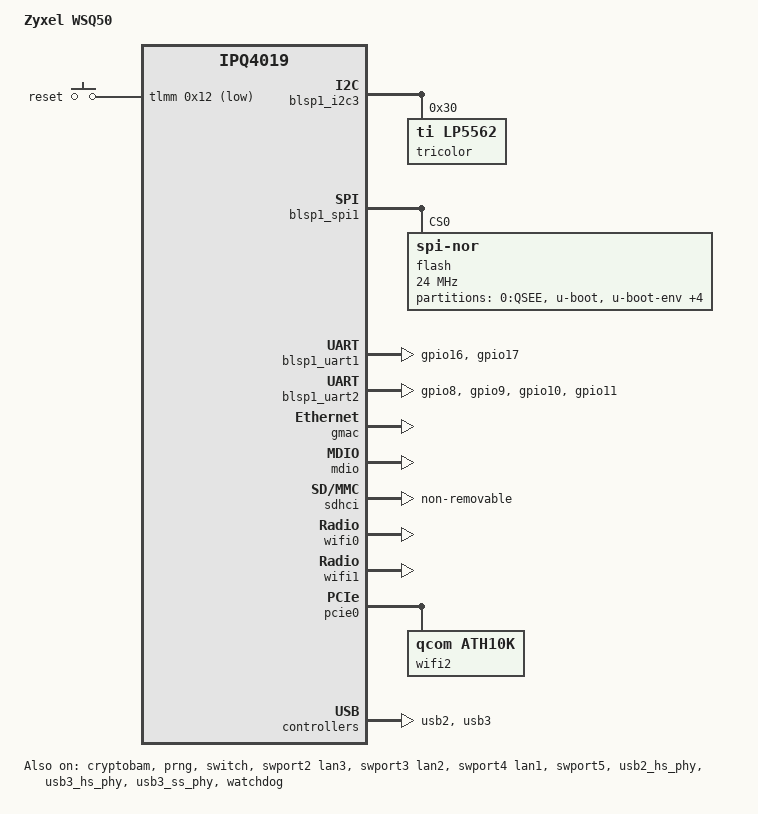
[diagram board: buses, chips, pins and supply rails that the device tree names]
// SPDX-License-Identifier: GPL-2.0-or-later OR MIT

#include "qcom-ipq4019.dtsi"
#include <dt-bindings/gpio/gpio.h>
#include <dt-bindings/input/input.h>
#include <dt-bindings/input/linux-event-codes.h>
#include <dt-bindings/soc/qcom,tcsr.h>
#include <dt-bindings/leds/common.h>

/ {
	model = "Zyxel WSQ50";
	compatible = "zyxel,wsq50";

	aliases {
		led-boot = &status_green;
		led-boot-aux1 = &status_red;
		led-boot-aux2 = &status_blue;
		led-running = &status_green;
		led-running-aux1 = &status_red;
		led-running-aux2 = &status_blue;
		led-failsafe = &status_red;
		led-upgrade = &status_blue;
	};

	chosen {
		bootargs-append = " clk_ignore_unused fstools_ignore_partname=1";
		stdout-path = &blsp1_uart1;
	};

	keys {
		compatible = "gpio-keys";

		reset {
			label = "reset";
			gpios = <&tlmm 0x12 GPIO_ACTIVE_LOW>;
			linux,code = <KEY_RESTART>;
		};
	};

	soc {
		tcsr@1949000 {
			reg = <0x1949000 0x100>;
			compatible = "qcom,tcsr";
			qcom,wifi_glb_cfg = <TCSR_WIFI_GLB_CFG>;
		};

		tcsr@194b000 {
			reg = <0x194b000 0x100>;
			compatible = "qcom,tcsr";
			qcom,usb-hsphy-mode-select = <TCSR_USB_HSPHY_HOST_MODE>;
		};

		ess_tcsr@1953000 {
			reg = <0x1953000 0x1000>;
			compatible = "qcom,tcsr";
			qcom,ess-interface-select = <TCSR_ESS_PSGMII>;
		};

		tcsr@1957000 {
			reg = <0x1957000 0x100>;
			compatible = "qcom,tcsr";
			qcom,wifi_noc_memtype_m0_m2 = <TCSR_WIFI_NOC_MEMTYPE_M0_M2>;
		};
	};
};

&tlmm {
	serial1_pins: serial1_pinmux {
		pins = "gpio16", "gpio17";
		function = "blsp_uart1";
		bias-disable;
	};

	serial2_pins: serial2_pinmux {
		pins = "gpio8", "gpio9", "gpio10", "gpio11";
		function = "blsp_uart2";
		bias-disable;
	};

	led_pins: led_pinmux {
		pins = "gpio44", "gpio45", "gpio46";
		output-high;
		bias-pull-up;
	};
};

&blsp_dma {
	status = "okay";
};

&blsp1_i2c3 {
	status = "okay";

	tricolor: lp5562@30 {
		#address-cells = <1>;
		#size-cells = <0>;
		compatible = "ti,lp5562";
		reg = <0x30>;
		clock-mode = /bits/ 8 <1>;

		status_red: chan@0 {
			reg = <0>;
			chan-name = "red:status";
			led-cur = /bits/ 8 <144>;
			max-cur = /bits/ 8 <255>;
			color = <LED_COLOR_ID_RED>;
		};

		status_green: chan@1 {
			reg = <1>;
			chan-name = "green:status";
			led-cur = /bits/ 8 <69>;
			max-cur = /bits/ 8 <255>;
			color = <LED_COLOR_ID_GREEN>;
		};

		status_blue: chan@2 {
			reg = <2>;
			chan-name = "blue:status";
			led-cur = /bits/ 8 <192>;
			max-cur = /bits/ 8 <255>;
			color = <LED_COLOR_ID_BLUE>;
		};
	};
};

&blsp1_spi1 {
	status = "okay";

	flash@0 {
		reg = <0>;
		compatible = "jedec,spi-nor";
		spi-max-frequency = <24000000>;

		partitions {
			#address-cells = <1>;
			#size-cells = <1>;
			compatible = "fixed-partitions";

			partition0@0 {
				label = "0:QSEE";
				reg = <0x00060000 0x00060000>;
				read-only;
			};

			partition1@E0000 {
				label = "u-boot";
				reg = <0x000E0000 0x00080000>;
				read-only;
			};

			partition2@160000 {
				label = "u-boot-env";
				reg = <0x00160000 0x00010000>;
			};

			partition3@170000 {
				label = "0:ART";
				reg = <0x00170000 0x00010000>;
				read-only;

				nvmem-layout {
					compatible = "fixed-layout";
					#address-cells = <1>;
					#size-cells = <1>;

					macaddr_gmac0: macaddr@0 {
						compatible = "mac-base";
						reg = <0x0 0x6>;
						#nvmem-cell-cells = <1>;
					};

					macaddr_gmac1: macaddr@6 {
						reg = <0x6 0x6>;
					};

					precal_wifi0: precal@1000 {
						reg = <0x1000 0x2f20>;
					};

					macaddr_wifi0: macaddr@1006 {
						reg = <0x1006 0x6>;
					};

					precal_wifi1: precal@5000 {
						reg = <0x5000 0x2f20>;
					};

					macaddr_wifi1: macaddr@5006 {
						reg = <0x5006 0x6>;
					};

					precal_wifi2: precal@9000 {
						reg = <0x9000 0x2f20>;
					};

					macaddr_wifi2: macaddr@9006 {
						reg = <0x9006 0x6>;
					};
				};
			};

			partition4@180000 {
				label = "dualflag";
				reg = <0x00180000 0x00010000>;
			};

			partition5@190000 {
				label = "CRT";
				reg = <0x00190000 0x00010000>;
				read-only;
			};

			partition6@1A0000 {
				label = "reserved";
				reg = <0x001A0000 0x00260000>;
			};
		};
	};
};

&blsp1_uart1 {
	pinctrl-0 = <&serial1_pins>;
	pinctrl-names = "default";
	status = "okay";
};

&blsp1_uart2 {
	pinctrl-0 = <&serial2_pins>;
	pinctrl-names = "default";
	status = "okay";
};

&cryptobam {
	status = "okay";
};

&gmac {
	status = "okay";
};

&mdio {
	status = "okay";
};

&prng {
	status = "okay";
};

&sdhci {
	status = "okay";
	non-removable;
};

&switch {
	status = "okay";
};

&swport2 {
	status = "okay";
	nvmem-cell-names = "mac-address";
	nvmem-cells = <&macaddr_gmac1>;
	label = "lan3";
};

&swport3 {
	status = "okay";
	nvmem-cell-names = "mac-address";
	nvmem-cells = <&macaddr_gmac1>;
	label = "lan2";
};

&swport4 {
	status = "okay";
	nvmem-cell-names = "mac-address";
	nvmem-cells = <&macaddr_gmac1>;
	label = "lan1";
};

&swport5 { /* WAN */
	status = "okay";
	nvmem-cell-names = "mac-address";
	nvmem-cells = <&macaddr_gmac0 0>;
};

&wifi0 {
	status = "okay";
	nvmem-cell-names = "pre-calibration", "mac-address";
	nvmem-cells = <&precal_wifi0>, <&macaddr_wifi0>;
	qcom,ath10k-calibration-variant = "Zyxel-WSQ50";
};

&wifi1 {
	status = "okay";
	nvmem-cell-names = "pre-calibration", "mac-address";
	nvmem-cells = <&precal_wifi1>, <&macaddr_wifi1>;
	qcom,ath10k-calibration-variant = "Zyxel-WSQ50";
};

&pcie0 { /* QCA9984 */
	status = "okay";
	perst-gpio = <&tlmm 38 GPIO_ACTIVE_LOW>;
	wake-gpio = <&tlmm 40 GPIO_ACTIVE_LOW>;
	clkreq-gpio = <&tlmm 39 GPIO_ACTIVE_LOW>;

	bridge@0,0 {
		#address-cells = <3>;
		#size-cells = <2>;
		reg = <0x00000000 0 0 0 0>;
		ranges;

		wifi2: wifi@1,0 {
			reg = <0x00010000 0 0 0 0>;
			ieee80211-freq-limit = <5170000 5875000>;
			compatible = "qcom,ath10k";
			nvmem-cell-names = "pre-calibration", "mac-address";
			nvmem-cells = <&precal_wifi2>, <&macaddr_wifi2>;
			qcom,ath10k-calibration-variant = "Zyxel-WSQ50";
		};
	};
};

&usb2 {
	status = "okay";
};

&usb2_hs_phy {
	status = "okay";
};

&usb3 {
	status = "okay";
};

&usb3_hs_phy {
	status = "okay";
};

&usb3_ss_phy {
	status = "okay";
};

&watchdog {
	status = "okay";
};
